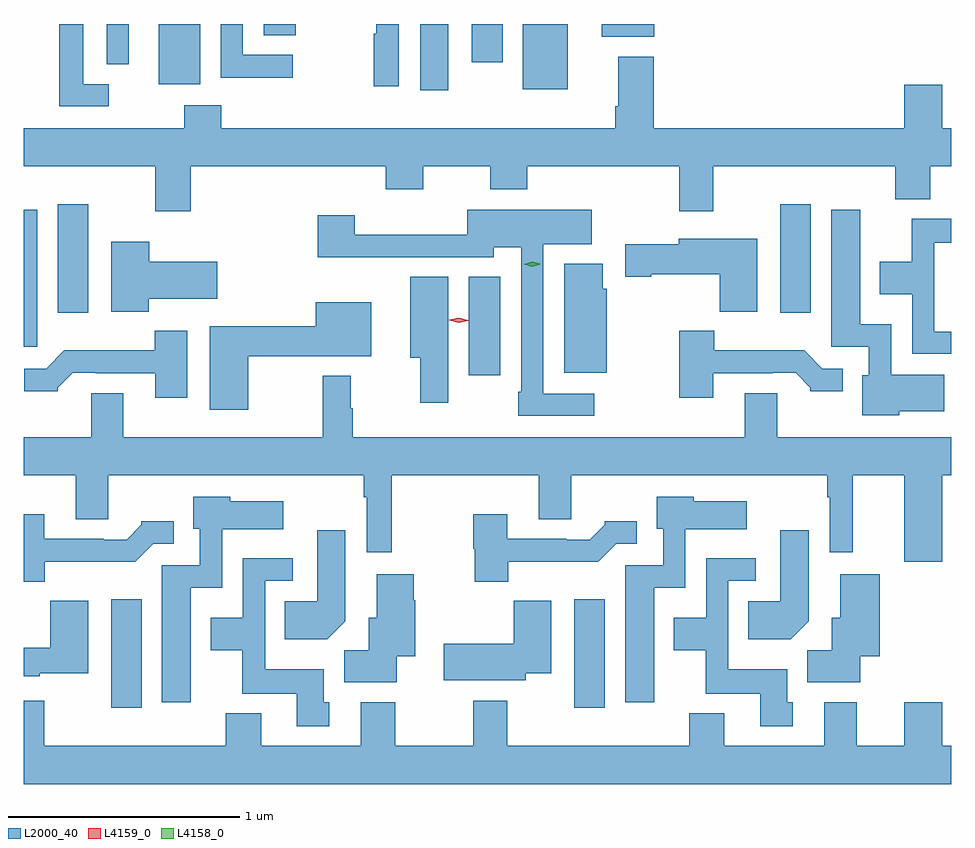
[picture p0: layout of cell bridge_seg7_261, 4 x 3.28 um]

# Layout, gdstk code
import gdstk
lib = gdstk.Library(unit=1e-6, precision=1e-09)
def R(c, l, rs):  # rectangles x0, y0, x1, y1
    for r in rs: c.add(gdstk.rectangle(r[:2], r[2:], *l))
def P(c, l, *ps):  # polygons
    for p in ps: c.add(gdstk.Polygon(p, *l))
L2000_40 = (2000, 40)
L4158_0 = (4158, 0)
L4159_0 = (4159, 0)

bridge_seg7_261 = lib.new_cell('bridge_seg7_261')
R(bridge_seg7_261, L2000_40, [(221.528,1075.536,221.659,1076.005), (223.526,1075.536,223.657,1076.005), (223.07,1076.97,223.207,1077.395), (221.151,1077.093,221.209,1077.685), (221.297,1077.24,221.428,1077.709), (224.414,1077.24,224.545,1077.709), (222.86,1078.2,222.982,1078.486), (223.304,1078.205,223.498,1078.486), (221.732,1078.226,221.911,1078.486), (223.082,1078.32,223.216,1078.486), (223.643,1078.43,223.87,1078.486), (222.185,1078.438,222.324,1078.486)])
P(bridge_seg7_261, L2000_40, [(221.518,1078.227),(221.407,1078.227),(221.407,1078.486),(221.303,1078.486),(221.303,1078.131),(221.518,1078.131)],
  [(221.604,1078.466),(221.603,1078.466),(221.603,1078.486),(221.508,1078.486),(221.508,1078.312),(221.604,1078.312)],
  [(222.31,1078.353),(222.096,1078.353),(222.096,1078.486),(222,1078.486),(222,1078.255),(222.31,1078.255)],
  [(222.768,1078.486),(222.672,1078.486),(222.672,1078.445),(222.66,1078.445),(222.66,1078.218),(222.768,1078.218)],
  [(221.87,1077.872),(222.713,1077.872),(222.713,1077.773),(222.873,1077.773),(222.873,1077.872),(223.162,1077.872),(223.162,1077.773),(223.322,1077.773),(223.322,1077.872),(223.978,1077.872),(223.978,1077.678),(224.125,1077.678),(224.125,1077.872),(224.909,1077.872),(224.909,1077.731),(225.061,1077.731),(225.061,1077.872),(225.151,1077.872),(225.151,1078.036),(225.112,1078.036),(225.112,1078.225),(224.948,1078.225),(224.948,1078.036),(223.868,1078.036),(223.868,1078.345),(223.715,1078.345),(223.715,1078.132),(223.703,1078.132),(223.703,1078.036),(222.002,1078.036),(222.002,1078.135),(221.842,1078.135),(221.842,1078.036),(221.151,1078.036),(221.151,1077.872),(221.717,1077.872),(221.717,1077.678),(221.87,1077.678)],
  [(224.928,1076.816),(225.121,1076.816),(225.121,1076.974),(224.892,1076.974),(224.892,1077.19),(224.758,1077.19),(224.758,1077.685),(224.633,1077.685),(224.633,1077.093),(224.796,1077.093),(224.796,1076.97),(224.768,1076.97),(224.768,1076.798),(224.928,1076.798)],
  [(223.612,1076.892),(223.392,1076.892),(223.392,1077.536),(223.6,1077.536),(223.6,1077.685),(223.064,1077.685),(223.064,1077.578),(222.579,1077.578),(222.579,1077.661),(222.419,1077.661),(222.419,1077.479),(222.667,1077.479),(222.667,1077.48),(223.177,1077.48),(223.177,1077.524),(223.296,1077.524),(223.296,1076.899),(223.284,1076.899),(223.284,1076.796),(223.612,1076.796)],
  [(225.151,1077.159),(225.078,1077.159),(225.078,1077.542),(225.151,1077.542),(225.151,1077.646),(224.98,1077.646),(224.98,1077.46),(224.843,1077.46),(224.843,1077.32),(224.982,1077.32),(224.982,1077.063),(225.151,1077.063)],
  [(224.314,1077.559),(223.976,1077.559),(223.976,1077.537),(223.746,1077.537),(223.746,1077.395),(223.858,1077.395),(223.858,1077.407),(224.152,1077.407),(224.152,1077.245),(224.314,1077.245)],
  [(221.69,1077.302),(221.986,1077.302),(221.986,1077.46),(221.692,1077.46),(221.692,1077.547),(221.528,1077.547),(221.528,1077.245),(221.69,1077.245)],
  [(223.666,1077.345),(223.648,1077.345),(223.648,1077.451),(223.481,1077.451),(223.481,1076.981),(223.666,1076.981)],
  [(222.982,1077.395),(222.818,1077.395),(222.818,1077.047),(222.86,1077.047),(222.86,1076.853),(222.982,1076.853)],
  [(222.12,1077.054),(222.414,1077.054),(222.414,1077.053),(222.649,1077.053),(222.649,1077.286),(222.41,1077.286),(222.41,1077.182),(221.954,1077.182),(221.954,1076.823),(222.12,1076.823)],
  [(224.125,1076.979),(224.381,1076.979),(224.381,1076.982),(224.48,1076.982),(224.544,1076.918),(224.544,1076.903),(224.683,1076.903),(224.683,1077),(224.595,1077),(224.517,1077.079),(224.128,1077.079),(224.128,1077.163),(223.978,1077.163),(223.978,1076.874),(224.125,1076.874)],
  [(221.857,1077.163),(221.715,1077.163),(221.715,1077.079),(221.326,1077.079),(221.247,1077),(221.154,1077),(221.154,1076.903),(221.298,1076.903),(221.298,1076.918),(221.362,1076.982),(221.461,1076.982),(221.461,1076.979),(221.717,1076.979),(221.717,1076.874),(221.857,1076.874)],
  [(222.569,1076.828),(222.562,1076.828),(222.562,1076.968),(222.441,1076.968),(222.441,1076.704),(221.581,1076.704),(221.581,1076.894),(221.441,1076.894),(221.441,1076.704),(221.151,1076.704),(221.151,1076.54),(221.375,1076.54),(221.375,1076.35),(221.515,1076.35),(221.515,1076.54),(222.618,1076.54),(222.618,1076.444),(222.63,1076.444),(222.63,1076.208),(222.739,1076.208),(222.739,1076.54),(223.373,1076.54),(223.373,1076.35),(223.513,1076.35),(223.513,1076.54),(224.616,1076.54),(224.616,1076.444),(224.628,1076.444),(224.628,1076.208),(224.727,1076.208),(224.727,1076.54),(224.948,1076.54),(224.948,1076.166),(225.112,1076.166),(225.112,1076.54),(225.151,1076.54),(225.151,1076.704),(224.401,1076.704),(224.401,1076.894),(224.261,1076.894),(224.261,1076.704),(222.569,1076.704)],
  [(223.87,1076.054),(224.004,1076.054),(224.004,1076.306),(224.269,1076.306),(224.269,1076.428),(224.04,1076.428),(224.04,1076.446),(223.88,1076.446),(223.88,1076.31),(223.908,1076.31),(223.908,1076.151),(223.745,1076.151),(223.745,1075.56),(223.87,1075.56)],
  [(221.872,1076.054),(222.006,1076.054),(222.006,1076.306),(222.271,1076.306),(222.271,1076.428),(222.042,1076.428),(222.042,1076.446),(221.882,1076.446),(221.882,1076.31),(221.91,1076.31),(221.91,1076.151),(221.747,1076.151),(221.747,1075.56),(221.872,1075.56)],
  [(221.242,1076.166),(221.631,1076.166),(221.709,1076.244),(221.797,1076.244),(221.797,1076.341),(221.658,1076.341),(221.658,1076.326),(221.594,1076.262),(221.495,1076.262),(221.495,1076.265),(221.239,1076.265),(221.239,1076.371),(221.151,1076.371),(221.151,1076.081),(221.242,1076.081)],
  [(223.24,1076.166),(223.629,1076.166),(223.707,1076.244),(223.795,1076.244),(223.795,1076.341),(223.656,1076.341),(223.656,1076.326),(223.592,1076.262),(223.493,1076.262),(223.493,1076.265),(223.237,1076.265),(223.237,1076.371),(223.09,1076.371),(223.09,1076.223),(223.097,1076.223),(223.097,1076.081),(223.24,1076.081)],
  [(222.538,1075.91),(222.538,1076.302),(222.416,1076.302),(222.416,1075.996),(222.277,1075.996),(222.277,1075.832),(222.46,1075.832)],
  [(224.536,1075.91),(224.536,1076.302),(224.414,1076.302),(224.414,1075.996),(224.275,1075.996),(224.275,1075.832),(224.458,1075.832)],
  [(222.469,1075.56),(222.445,1075.56),(222.445,1075.702),(222.192,1075.702),(222.192,1076.085),(222.31,1076.085),(222.31,1076.181),(222.096,1076.181),(222.096,1075.924),(221.957,1075.924),(221.957,1075.784),(222.094,1075.784),(222.094,1075.598),(222.329,1075.598),(222.329,1075.458),(222.469,1075.458)],
  [(224.467,1075.56),(224.443,1075.56),(224.443,1075.702),(224.19,1075.702),(224.19,1076.085),(224.308,1076.085),(224.308,1076.181),(224.094,1076.181),(224.094,1075.924),(223.955,1075.924),(223.955,1075.784),(224.092,1075.784),(224.092,1075.598),(224.327,1075.598),(224.327,1075.458),(224.467,1075.458)],
  [(224.758,1075.76),(224.843,1075.76),(224.843,1076.113),(224.672,1076.113),(224.672,1075.924),(224.636,1075.924),(224.636,1075.784),(224.531,1075.784),(224.531,1075.646),(224.758,1075.646)],
  [(222.76,1075.76),(222.84,1075.76),(222.84,1076),(222.832,1076),(222.832,1076.113),(222.674,1076.113),(222.674,1075.924),(222.638,1075.924),(222.638,1075.784),(222.533,1075.784),(222.533,1075.646),(222.76,1075.646)],
  [(223.315,1075.685),(223.426,1075.685),(223.426,1075.999),(223.264,1075.999),(223.264,1075.813),(222.963,1075.813),(222.963,1075.655),(223.315,1075.655)],
  [(221.22,1075.685),(221.428,1075.685),(221.428,1075.999),(221.266,1075.999),(221.266,1075.795),(221.151,1075.795),(221.151,1075.673),(221.22,1075.673)],
  [(225.151,1075.372),(225.112,1075.372),(225.112,1075.561),(224.948,1075.561),(224.948,1075.372),(224.743,1075.372),(224.743,1075.561),(224.603,1075.561),(224.603,1075.372),(224.173,1075.372),(224.173,1075.513),(224.021,1075.513),(224.021,1075.372),(223.237,1075.372),(223.237,1075.567),(223.09,1075.567),(223.09,1075.372),(222.753,1075.372),(222.753,1075.561),(222.605,1075.561),(222.605,1075.372),(222.175,1075.372),(222.175,1075.513),(222.023,1075.513),(222.023,1075.372),(221.239,1075.372),(221.239,1075.567),(221.151,1075.567),(221.151,1075.208),(225.151,1075.208)])
P(bridge_seg7_261, L4158_0, [(223.343,1077.44),(223.308,1077.449),(223.308,1077.449),(223.308,1077.449),(223.343,1077.46),(223.378,1077.451),(223.378,1077.45),(223.378,1077.45)])
P(bridge_seg7_261, L4159_0, [(223.027,1077.198),(222.986,1077.209),(222.986,1077.209),(222.986,1077.21),(223.027,1077.218),(223.068,1077.208),(223.068,1077.208),(223.068,1077.207)])

lib.write_gds('bridge_seg7_261.gds')
